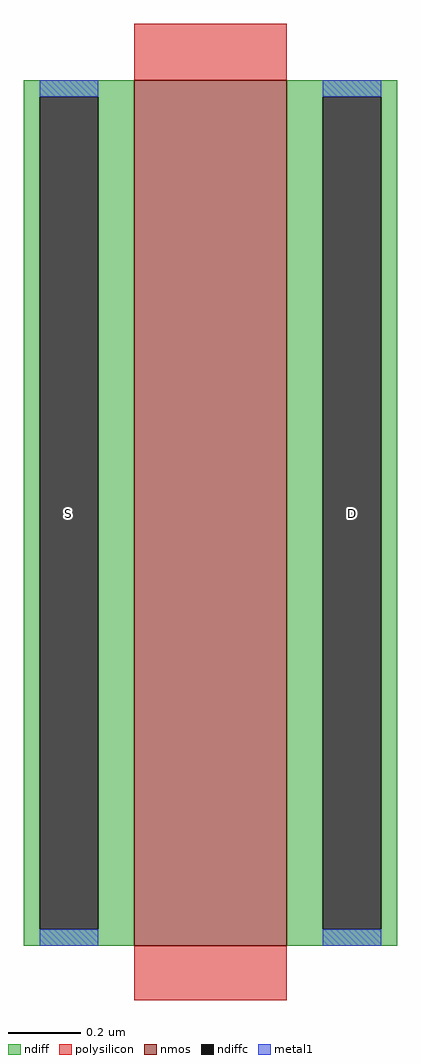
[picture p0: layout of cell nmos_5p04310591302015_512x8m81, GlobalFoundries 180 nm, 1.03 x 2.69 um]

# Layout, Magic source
magic
tech gf180mcuD
magscale 1 10
<< nmos >>
rect 0 0 84 477
<< ndiff >>
rect -61 468 0 477
rect -61 9 -52 468
rect -20 9 0 468
rect -61 0 0 9
rect 84 468 145 477
rect 84 9 104 468
rect 136 9 145 468
rect 84 0 145 9
<< ndiffc >>
rect -52 9 -20 468
rect 104 9 136 468
<< polysilicon >>
rect 0 477 84 508
rect 0 -30 84 0
<< metal1 >>
rect -52 468 -20 477
rect -52 0 -20 9
rect 104 468 136 477
rect 104 0 136 9
<< labels >>
flabel ndiffc -36 238 -36 238 0 FreeSans 140 0 0 0 S
flabel ndiffc 120 238 120 238 0 FreeSans 140 0 0 0 D
<< end >>
